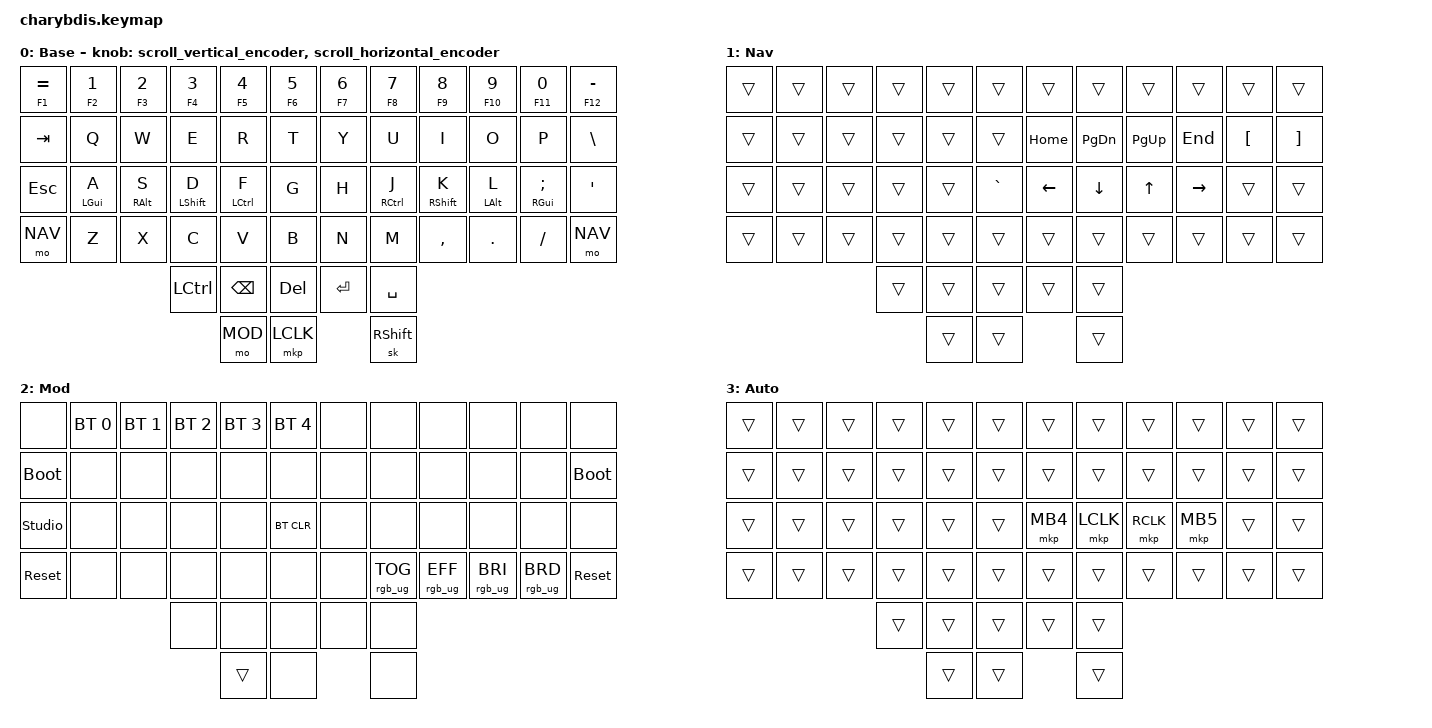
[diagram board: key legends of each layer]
#define ZMK_POINTING_DEFAULT_MOVE_VAL 1500
#define ZMK_POINTING_DEFAULT_SCRL_VAL 20

#include <dt-bindings/zmk/mouse.h>
#include <input/processors.dtsi>
#include <zephyr/dt-bindings/input/input-event-codes.h>
#include <behaviors.dtsi>
#include <dt-bindings/zmk/bt.h>
#include <dt-bindings/zmk/keys.h>
#include <dt-bindings/zmk/pointing.h>
#include <dt-bindings/zmk/rgb.h>

#define HOMEROW 0
#define NAV 1
#define MOD 2
#define AUTOMOUSE 3

&mmv_input_listener { input-processors = <&zip_xy_scaler 2 1>; };

&msc_input_listener { input-processors = <&zip_scroll_scaler 2 1>; };

&msc {
    acceleration-exponent = <0>;
    time-to-max-speed-ms = <100>;
    delay-ms = <0>;
};

&mmv {
    time-to-max-speed-ms = <500>;
    acceleration-exponent = <1>;
    trigger-period-ms = <16>;
};

/ {
    scroll_vertical_encoder: scroll_vertical_encoder {
        compatible = "zmk,behavior-sensor-rotate";
        #sensor-binding-cells = <0>;
        bindings = <&msc SCRL_DOWN>, <&msc SCRL_UP>;
        tap-ms = <100>;
    };

    scroll_horizontal_encoder: scroll_horizontal_encoder {
        compatible = "zmk,behavior-sensor-rotate";
        #sensor-binding-cells = <0>;
        bindings = <&msc SCRL_LEFT>, <&msc SCRL_RIGHT>;
        tap-ms = <100>;
    };

    behaviors {
        hm: homerow_mods {
            compatible = "zmk,behavior-hold-tap";
            #binding-cells = <2>;
            tapping-term-ms = <190>;
            quick-tap-ms = <125>;
            require-prior-idle-ms = <125>;
            flavor = "tap-preferred";
            bindings = <&kp>, <&kp>;
        };

        lb: balanced_layer {
            compatible = "zmk,behavior-hold-tap";
            #binding-cells = <2>;
            tapping-term-ms = <185>;
            quick-tap-ms = <135>;
            require-prior-idle-ms = <135>;
            flavor = "tap-preferred";
            bindings = <&mo>, <&kp>;
        };
    };

    combos {
        compatible = "zmk,combos";

        esc2 {
            bindings = <&kp ESCAPE>;
            key-positions = <26 27 28>;
        };

        tab2 {
            bindings = <&kp TAB>;
            key-positions = <28 26 15>;
        };

        shift2 {
            bindings = <&kp RSHFT>;
            key-positions = <31 32 33>;
        };

        ctrl2 {
            bindings = <&kp RCTRL>;
            key-positions = <31 20 33>;
        };
    };

    keymap {
        compatible = "zmk,keymap";

        homerow {
            display-name = "Base";
            bindings = <
&hm F1 EQUAL  &hm F2 N1   &hm F3 N2   &hm F4 N3    &hm F5 N4    &hm F6 N5    &hm F7 N6  &hm F8 N7    &hm F9 N8    &hm F10 N9  &hm F11 N0     &hm F12 MINUS
&kp TAB       &kp Q       &kp W       &kp E        &kp R        &kp T        &kp Y      &kp U        &kp I        &kp O       &kp P          &kp BSLH
&kp ESC       &hm LGUI A  &hm RALT S  &hm LSHFT D  &hm LCTRL F  &kp G        &kp H      &hm RCTRL J  &hm RSHFT K  &hm LALT L  &hm RGUI SEMI  &kp SQT
&mo NAV       &kp Z       &kp X       &kp C        &kp V        &kp B        &kp N      &kp M        &kp COMMA    &kp DOT     &kp FSLH       &mo NAV
                                      &kp LCTRL    &kp BSPC     &kp DEL      &kp ENTER  &kp SPACE
                                                   &mo MOD      &mkp LCLK                 &sk RSHFT
            >;

            sensor-bindings =
                <&scroll_vertical_encoder>,
                <&scroll_horizontal_encoder>;
        };

        nav {
            display-name = "Nav";
            bindings = <
&trans  &trans  &trans  &trans  &trans  &trans       &trans    &trans      &trans      &trans     &trans    &trans
&trans  &trans  &trans  &trans  &trans  &trans       &kp HOME  &kp PG_DN   &kp PG_UP   &kp END    &kp LBKT  &kp RBKT
&trans  &trans  &trans  &trans  &trans  &kp GRAVE    &kp LEFT  &kp DOWN    &kp UP      &kp RIGHT  &trans    &trans
&trans  &trans  &trans  &trans  &trans  &trans       &trans    &trans      &trans      &trans     &trans    &trans
                        &trans  &trans  &trans       &trans    &trans
                                &trans  &trans       &trans
            >;
        };

        mod {
            display-name = "Mod";
            bindings = <
&none           &bt BT_SEL 0  &bt BT_SEL 1  &bt BT_SEL 2  &bt BT_SEL 3  &bt BT_SEL 4    &none  &none            &none            &none            &none            &none
&bootloader     &none         &none         &none         &none         &none           &none  &none            &none            &none            &none            &bootloader
&studio_unlock  &none         &none         &none         &none         &bt BT_CLR      &none  &none            &none            &none            &none            &none
&sys_reset      &none         &none         &none         &none         &none           &none  &rgb_ug RGB_TOG  &rgb_ug RGB_EFF  &rgb_ug RGB_BRI  &rgb_ug RGB_BRD  &sys_reset
                                            &none         &none         &none           &none  &none
                                                          &trans        &none           &none
            >;
        };

        // 트랙볼을 굴리면 드라이버가 자동으로 켜는 레이어.
        // 손바닥이 볼에 스쳐도 피해가 H/J/K/L 네 키로 제한되도록 나머지는 전부 &trans.
        automouse {
            display-name = "Auto";
            bindings = <
&trans  &trans  &trans  &trans  &trans  &trans    &trans     &trans     &trans     &trans     &trans  &trans
&trans  &trans  &trans  &trans  &trans  &trans    &trans     &trans     &trans     &trans     &trans  &trans
&trans  &trans  &trans  &trans  &trans  &trans    &mkp MB4   &mkp LCLK  &mkp RCLK  &mkp MB5   &trans  &trans
&trans  &trans  &trans  &trans  &trans  &trans    &trans     &trans     &trans     &trans     &trans  &trans
                        &trans  &trans  &trans    &trans     &trans
                                &trans  &trans    &trans
            >;
        };
    };
};
